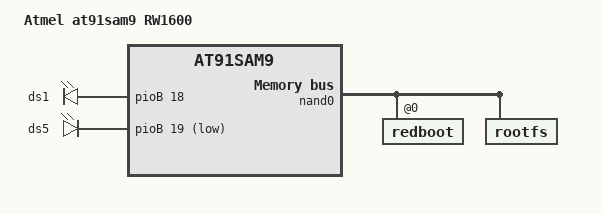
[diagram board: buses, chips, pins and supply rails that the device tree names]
/*
 * at91sam9g20ek.dts - Device Tree file for Atmel at91sam9g20ek board
 *
 * Copyright (C) 2012 Jean-Christophe PLAGNIOL-VILLARD <plagnioj@jcrosoft.com>
 *
 * Licensed under GPLv2.
 */
/dts-v1/;
#include "at91sam9g20ek_common.dtsi"

/ {
	model = "Atmel at91sam9 RW1600";
	compatible = "atmel,at91sam9g20ek", "atmel,at91sam9g20", "atmel,at91sam9";

	nand0: nand@60000000 {
		nand-bus-width = <8>;
		nand-ecc-mode = "hw";
		atmel,has-pmecc;
		atmel,pmecc-cap = <4>;
		atmel,pmecc-sector-size = <512>;
		nand-on-flash-bbt;
		status = "okay";

		redboot@0 {
			label = "redboot";
			reg = <0x0 0x400000>;
		};

		rootfs@400000 {
			label = "rootfs";
			reg = <0x440000 0x01bc0000>;
		};
	};

	leds {
		compatible = "gpio-leds";

		ds1 {
			label = "ds1";
			gpios = <&pioB 18 GPIO_ACTIVE_HIGH>;
			linux,default-trigger = "heartbeat";
		};

		ds5 {
			label = "ds5";
			gpios = <&pioB 19 GPIO_ACTIVE_LOW>;
		};
	};
};
